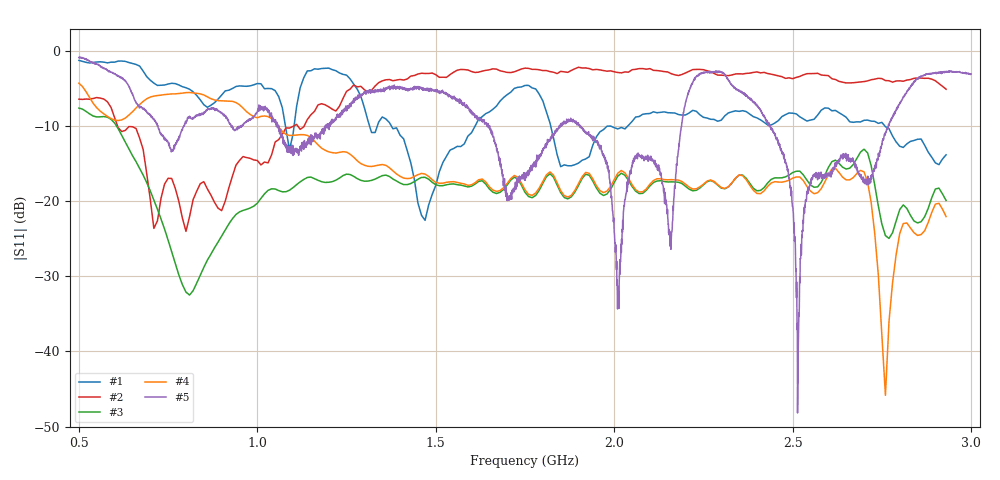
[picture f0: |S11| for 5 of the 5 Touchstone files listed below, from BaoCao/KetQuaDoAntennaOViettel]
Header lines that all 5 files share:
#  HZ  S  DB  R  50.0
! Rohde & Schwarz ZVL
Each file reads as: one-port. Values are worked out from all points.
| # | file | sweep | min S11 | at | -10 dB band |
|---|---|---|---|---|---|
| 1 | 2G3G.s1p | 500 MHz to 2.93 GHz | -22.5 dB | 1.47 GHz | 233.6 MHz wide |
| 2 | COUPLER1#2.s1p | 500 MHz to 2.93 GHz | -24.0 dB | 800 MHz | 491.4 MHz wide |
| 3 | COUPLER1#3.s1p | 500 MHz to 2.93 GHz | -32.5 dB | 810 MHz | over 2.324 GHz wide |
| 4 | COUPLER1#4.s1p | 500 MHz to 2.93 GHz | -45.8 dB | 2.76 GHz | over 1.872 GHz wide |
| 5 | LTE.s1p | 500 MHz to 3 GHz | -48.2 dB | 2.514 GHz | 330.6 MHz wide |
